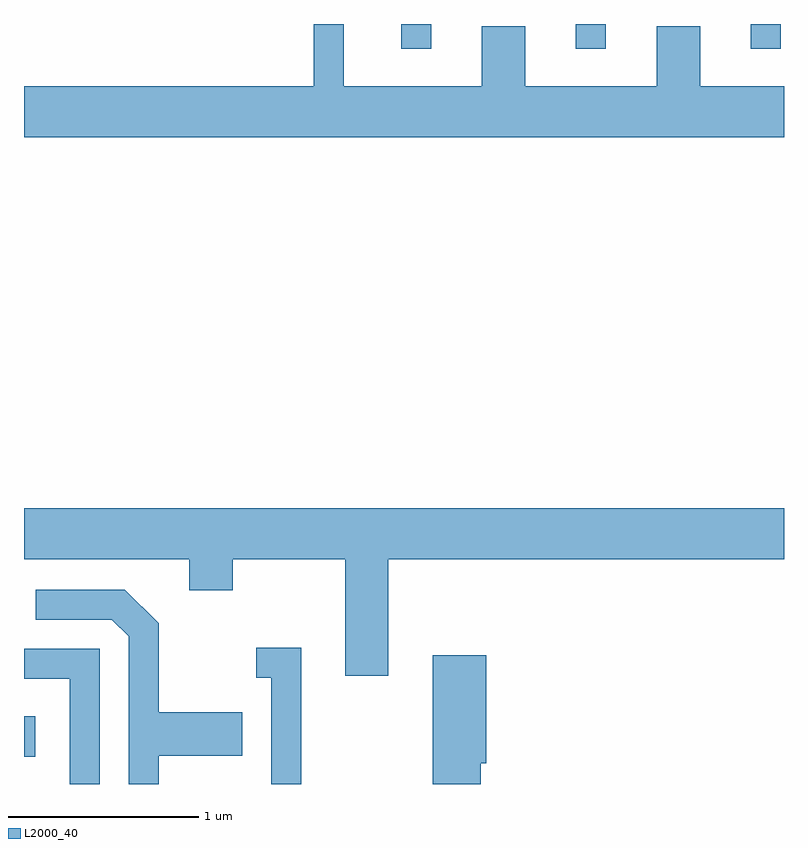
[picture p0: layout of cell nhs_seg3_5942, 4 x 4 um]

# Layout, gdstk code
import gdstk
lib = gdstk.Library(unit=1e-6, precision=1e-09)
def R(c, l, rs):  # rectangles x0, y0, x1, y1
    for r in rs: c.add(gdstk.rectangle(r[:2], r[2:], *l))
def A(c, l, x, y, w, h, nx, ny, dx, dy):  # array of equal rectangles
    R(c, l, [(x+i*dx, y+j*dy, x+i*dx+w, y+j*dy+h) for i in range(nx) for j in range(ny)])
def P(c, l, *ps):  # polygons
    for p in ps: c.add(gdstk.Polygon(p, *l))
L2000_40 = (2000, 40)

nhs_seg3_5942 = lib.new_cell('nhs_seg3_5942')
A(nhs_seg3_5942, L2000_40, 361.596, 1179.763, 0.158, 0.129, 3, 1, 0.92, 0)
R(nhs_seg3_5942, L2000_40, [(359.611,1176.036,359.669,1176.249)])
P(nhs_seg3_5942, L2000_40, [(363.611,1179.564),(363.169,1179.564),(363.169,1179.879),(362.941,1179.879),(362.941,1179.564),(362.249,1179.564),(362.249,1179.879),(362.021,1179.879),(362.021,1179.564),(361.294,1179.564),(361.294,1179.892),(361.136,1179.892),(361.136,1179.564),(359.611,1179.564),(359.611,1179.296),(363.611,1179.296)],
  [(361.529,1177.076),(363.611,1177.076),(363.611,1177.344),(359.611,1177.344),(359.611,1177.076),(360.481,1177.076),(360.481,1176.911),(360.709,1176.911),(360.709,1177.076),(361.301,1177.076),(361.301,1176.461),(361.529,1176.461)],
  [(360.319,1176.041),(360.759,1176.041),(360.759,1176.269),(360.319,1176.269),(360.319,1176.737),(360.142,1176.914),(359.673,1176.914),(359.673,1176.756),(360.074,1176.756),(360.161,1176.669),(360.161,1175.892),(360.319,1175.892)],
  [(361.069,1176.609),(360.833,1176.609),(360.833,1176.451),(360.911,1176.451),(360.911,1175.892),(361.069,1175.892)],
  [(360.009,1176.604),(359.611,1176.604),(359.611,1176.446),(359.851,1176.446),(359.851,1175.892),(360.009,1175.892)],
  [(362.014,1176.001),(362.044,1176.001),(362.044,1176.569),(361.761,1176.569),(361.761,1175.892),(362.014,1175.892)])

lib.write_gds('nhs_seg3_5942.gds')
